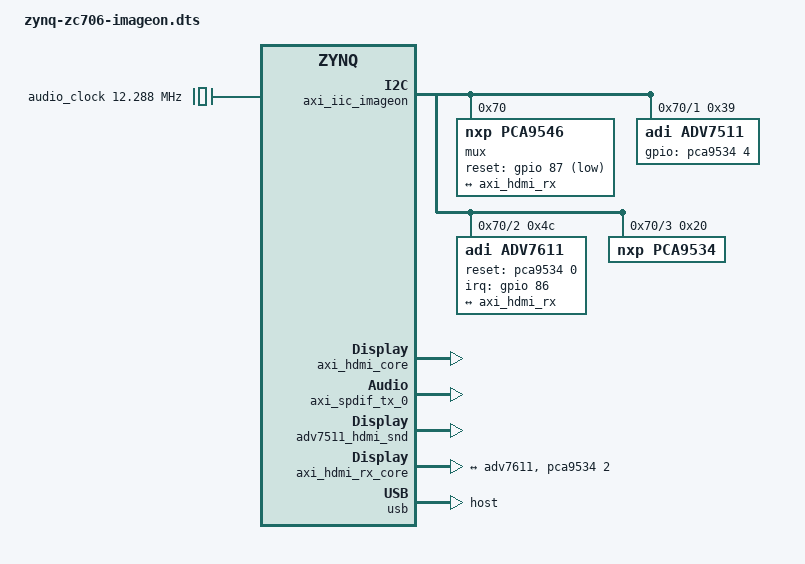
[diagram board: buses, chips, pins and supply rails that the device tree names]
/dts-v1/;

/include/ "zynq-zc706.dtsi"

/ {
	fpga_axi: fpga-axi@0 {
		compatible = "simple-bus";
		#address-cells = <0x1>;
		#size-cells = <0x1>;
		ranges;

		axi_iic_imageon: i2c@43c40000 {
			compatible = "xlnx,axi-iic-1.02.a", "xlnx,xps-iic-2.00.a";
			interrupt-parent = <&gic>;
			interrupts = <0 55 4>;
			reg = <0x43c40000 0x10000>;
			bus-id = <1>;
			#size-cells = <0>;
			#address-cells = <1>;

			mux@70 {
				compatible = "nxp,pca9546";
				reg = <0x70>;
				reset-gpio = <&gpio 87 1>;
				#address-cells = <1>;
				#size-cells = <0>;

				i2c@1 {
					#size-cells = <0>;
					#address-cells = <1>;
					reg = <1>;

					adv7511: adv7511@39 {
						compatible = "adi,adv7511";
						reg = <0x39>;

						adi,input-style = <0x02>;
						adi,input-id = <0x02>;
						adi,input-color-depth = <0x3>;
						adi,sync-pulse = <0x03>;
						adi,bit-justification = <0x02>;
						adi,up-conversion = <0x00>;
						adi,timing-generation-sequence = <0x00>;
						adi,vsync-polarity = <0x02>;
						adi,hsync-polarity = <0x02>;
						adi,tdms-clock-inversion;
						adi,clock-delay = <0x03>;
						gpios = <&pca9534 4 0>;
					};
				};

				i2c@2 { 
					#size-cells = <0>;
					#address-cells = <1>;
					reg = <2>;

					adv7611@4c {
						compatible = "adi,adv7611";
						reg = <0x4c>;
						#address-cells = <0x1>;
						#size-cells = <0x0>;
						reset-gpios = <&pca9534 0 0>;
						interrupt-parent = <&gpio>;
						interrupts = <86 4>;

						port@0 {
							reg = <0x0>;
						};

						port@1 {
							reg = <0x1>;

							adv7611: endpoint {
								bus-width = <16>;
								remote-endpoint = <&axi_hdmi_rx>;
							};
						};
					};
				};

				i2c@3 {
					#size-cells = <0>;
					#address-cells = <1>;
					reg = <3>;

					pca9534: pca9534@20 {
						compatible = "nxp,pca9534";
						reg = <0x20>;
						gpio-controller;
						#gpio-cells = <2>;
					};
				};
			};
		};

		axi_hdmi_dma: axi-vdma@43000000 {
			#address-cells = <1>;
			#size-cells = <1>;
			#dma-cells = <1>;
			compatible = "xlnx,axi-vdma";
			reg = <0x43000000 0x10000>;
			xlnx,include-sg = <0x0>;
			xlnx,num-fstores = <0x3>;
			dma-channel@43000000 {
				compatible = "xlnx,axi-vdma-mm2s-channel";
				interrupts = <0 59 0x4>;
				xlnx,datawidth = <0x40>;
				xlnx,genlock-mode = <0x0>;
				xlnx,include-dre = <0x0>;
			};
		};

		axi_hdmi_clkgen: axi-clkgen@79000000 {
			compatible = "adi,axi-clkgen-2.00.a";
			reg = <0x79000000 0x10000>;
			#clock-cells = <0>;
			clocks = <&clkc 16>;
		};

		axi_hdmi_core: axi-hdmi-tx@70e00000 {
			compatible = "adi,axi-hdmi-tx-1.00.a";
			reg = <0x70e00000 0x10000>;
			encoder-slave = <&adv7511>;
			dmas = <&axi_hdmi_dma 0>;
			dma-names = "video";
			clocks = <&axi_hdmi_clkgen>;
			adi,embedded-sync;
		};

		audio_clock: audio_clock {
			compatible = "fixed-clock";
			#clock-cells = <0>;
			clock-frequency = <12288000>;
		};

		axi_spdif_tx_0: axi-spdif-tx@0x75c00000 {
			compatible = "adi,axi-spdif-tx-1.00.a";
			reg = <0x75c00000 0x1000>;
			dmas = <&ps7_dma 0>;
			dma-names = "tx";
			clocks = <&clkc 15>, <&audio_clock>, <&audio_clock>;
			clock-names = "axi", "ref", "spdif";
		};

		adv7511_hdmi_snd: adv7511_hdmi_snd {
			compatible = "adv7511-hdmi-snd";
			audio-codec = <&adv7511>;
			cpu-dai = <&axi_spdif_tx_0>;
		};

		axi_hdmi_rx_core: axi-hdmi-rx@43100000 {
			compatible = "adi,axi-hdmi-rx-1.00.a";
			reg = <0x43100000 0x10000>;
			dmas = <&axi_dmac 0>;
			dma-names = "rx";
			gpios = <&pca9534 2 0>;

			port {
				#address-cells = <0>;
				#size-cells = <0>;

				axi_hdmi_rx: endpoint {
					remote-endpoint = <&adv7611>;
				};
			};
		};

		axi_dmac: dmac@43c20000 {
			compatible = "adi,axi-dmac-1.00.a";
			reg = <0x43c20000 0x10000>;
			#dma-cells = <1>;
			interrupts = <0 56 0>;
			clocks = <&clkc 16>;

			dma-channel {
				adi,buswidth = <64>;
				adi,type = <0>;
			};
		};

	};
};

&usb {
	dr_mode = "host";
};
